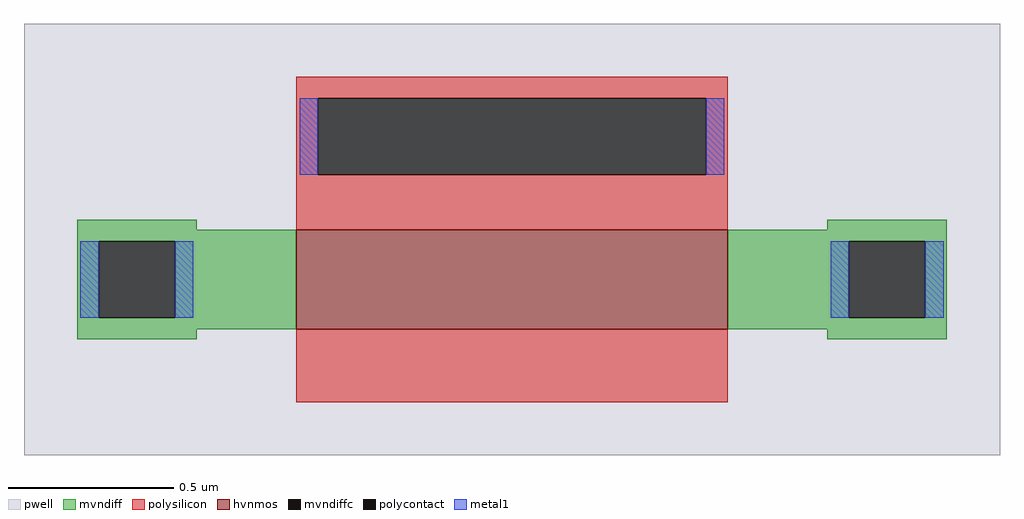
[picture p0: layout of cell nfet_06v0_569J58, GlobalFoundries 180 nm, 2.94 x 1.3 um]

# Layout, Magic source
magic
tech gf180mcuD
magscale 1 10
<< pwell >>
rect -294 -130 294 130
<< hvnmos >>
rect -130 -54 130 6
<< mvndiff >>
rect -262 6 -190 12
rect 190 6 262 12
rect -262 -1 -130 6
rect -262 -47 -249 -1
rect -203 -47 -130 -1
rect -262 -54 -130 -47
rect 130 -1 262 6
rect 130 -47 203 -1
rect 249 -47 262 -1
rect 130 -54 262 -47
rect -262 -60 -190 -54
rect 190 -60 262 -54
<< mvndiffc >>
rect -249 -47 -203 -1
rect 203 -47 249 -1
<< polysilicon >>
rect -130 85 130 98
rect -130 39 -117 85
rect 117 39 130 85
rect -130 6 130 39
rect -130 -98 130 -54
<< polycontact >>
rect -117 39 117 85
<< metal1 >>
rect -128 39 -117 85
rect 117 39 128 85
rect -260 -47 -249 -1
rect -203 -47 -192 -1
rect 192 -47 203 -1
rect 249 -47 260 -1
<< properties >>
string gencell nfet_06v0
string library gf180mcu
string parameters w 0.3 l 1.3 m 1 nf 1 diffcov 100 polycov 100 guard 0 glc 0 grc 0 gtc 0 gbc 0 tbcov 100 rlcov 100 topc 1 botc 0 poverlap 0 doverlap 1 lmin 0.7 wmin 0.3 class mosfet full_metal 0 compatible {nfet_03v3 nfet_05v0 nfet_06v0 nfet_06v0_nvt}
<< end >>
